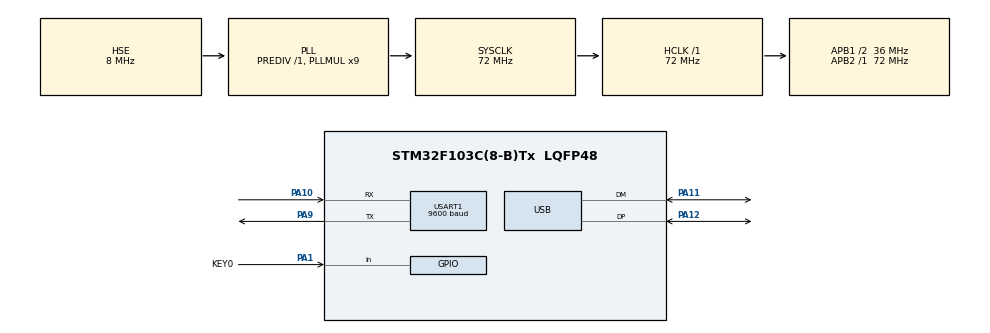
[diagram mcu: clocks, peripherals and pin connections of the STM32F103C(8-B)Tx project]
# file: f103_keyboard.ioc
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Mcu.Family=STM32F1
Mcu.Name=STM32F103C(8-B)Tx
Mcu.Package=LQFP48
NVIC.PriorityGroup=NVIC_PRIORITYGROUP_4
NVIC.TIM2_IRQn=true\:0\:0\:false\:false\:true\:true\:true\:true
NVIC.USART1_IRQn=true\:0\:0\:false\:false\:true\:true\:true\:true
NVIC.USB_LP_CAN1_RX0_IRQn=true\:0\:0\:false\:false\:true\:false\:true\:true
PA1.GPIO_Label=KEY0
PA1.Signal=GPIO_Input
PA10.Mode=Asynchronous
PA10.Signal=USART1_RX
PA11.Mode=Device
PA11.Signal=USB_DM
PA12.Mode=Device
PA12.Signal=USB_DP
PA13.Mode=Serial_Wire
PA13.Signal=SYS_JTMS-SWDIO
PA14.Mode=Serial_Wire
PA14.Signal=SYS_JTCK-SWCLK
PA9.Mode=Asynchronous
PA9.Signal=USART1_TX
PD0-OSC_IN.Mode=HSE-External-Oscillator
PD0-OSC_IN.Signal=RCC_OSC_IN
PD1-OSC_OUT.Mode=HSE-External-Oscillator
PD1-OSC_OUT.Signal=RCC_OSC_OUT
ProjectManager.HeapSize=0x200
ProjectManager.StackSize=0x400
ProjectManager.TargetToolchain=STM32CubeIDE
RCC.AHBFreq_Value=72000000
RCC.APB1CLKDivider=RCC_HCLK_DIV2
RCC.APB1Freq_Value=36000000
RCC.APB1TimFreq_Value=72000000
RCC.APB2Freq_Value=72000000
RCC.APB2TimFreq_Value=72000000
RCC.HCLKFreq_Value=72000000
RCC.PLLMUL=RCC_PLL_MUL9
RCC.SYSCLKFreq_VALUE=72000000
RCC.SYSCLKSource=RCC_SYSCLKSOURCE_PLLCLK
RCC.USBFreq_Value=48000000
RCC.USBPrescaler=RCC_USBCLKSOURCE_PLL_DIV1_5
TIM2.Period=999
TIM2.Prescaler=71
USART1.BaudRate=9600
USART1.VirtualMode=VM_ASYNC
USB_DEVICE.CLASS_NAME_FS=HID
USB_DEVICE.CONFIGURATION_STRING_HID_FS=HID Config811
USB_DEVICE.PID_HID_FS=20315
USB_DEVICE.VID=1055
USB_DEVICE.VirtualMode=Hid
USB_DEVICE.VirtualModeFS=Hid_FS
VP_TIM2_VS_ClockSourceINT.Mode=Internal
VP_USB_DEVICE_VS_USB_DEVICE_HID_FS.Mode=HID_FS
board=custom

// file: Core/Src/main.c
/* USER CODE BEGIN Header */
/**
  ******************************************************************************
  * @file           : main.c
  * @brief          : Main program body
  ******************************************************************************
  * @attention
  *
  * Copyright (c) 2025 STMicroelectronics.
  * All rights reserved.
  *
  * This software is licensed under terms that can be found in the LICENSE file
  * in the root directory of this software component.
  * If no LICENSE file comes with this software, it is provided AS-IS.
  *
  ******************************************************************************
  */
/* USER CODE END Header */
#include "main.h"
#include "usb_device.h"

TIM_HandleTypeDef htim2;

UART_HandleTypeDef huart1;

/* USER CODE BEGIN PV */
extern USBD_HandleTypeDef hUsbDeviceFS;
#define CURSOR_STEP 7
uint8_t HID_Buffer[8];

/* USER CODE END PV */

void SystemClock_Config(void);
static void MX_GPIO_Init(void);
static void MX_USART1_UART_Init(void);
static void MX_TIM2_Init(void);

/* USER CODE BEGIN 0 */
/* 获取键位 */
static void GetPointerData(uint8_t *pbuf)
{
  // 清空报告缓冲区（8字节全0）
  memset(pbuf, 0, 8);

  if(HAL_GPIO_ReadPin(KEY0_GPIO_Port, KEY0_Pin) == 1) {
    // pbuf[0] = 0x01;   // 左Ctrl修饰键
    pbuf[2] = 0x52;   // V键
    led_flash();
  }
  if(HAL_GPIO_ReadPin(GPIOA, GPIO_PIN_3) == 1) {
    // pbuf[0] = 0x01;   // 左Ctrl修饰键
    pbuf[2] = 0x51;   // C键
    led_flash();
  }
}

/* USER CODE END 0 */

int main(void)
{

  /* MCU Configuration--------------------------------------------------------*/

  /* Reset of all peripherals, Initializes the Flash interface and the Systick. */
  HAL_Init();

  /* Configure the system clock */
  SystemClock_Config();

  /* Initialize all configured peripherals */
  MX_GPIO_Init();
  MX_USART1_UART_Init();
  MX_USB_DEVICE_Init();
  MX_TIM2_Init();
  /* USER CODE BEGIN 2 */
  /* 主函数 */
  HAL_TIM_Base_Start_IT(&htim2);

  /* USER CODE END 2 */

  /* Infinite loop */
  while (1)
  {

  }
}

void SystemClock_Config(void)
{
  RCC_OscInitTypeDef RCC_OscInitStruct = {0};
  RCC_ClkInitTypeDef RCC_ClkInitStruct = {0};
  RCC_PeriphCLKInitTypeDef PeriphClkInit = {0};

  /** Initializes the RCC Oscillators according to the specified parameters
  * in the RCC_OscInitTypeDef structure.
  */
  RCC_OscInitStruct.OscillatorType = RCC_OSCILLATORTYPE_HSE;
  RCC_OscInitStruct.HSEState = RCC_HSE_ON;
  RCC_OscInitStruct.HSEPredivValue = RCC_HSE_PREDIV_DIV1;
  RCC_OscInitStruct.HSIState = RCC_HSI_ON;
  RCC_OscInitStruct.PLL.PLLState = RCC_PLL_ON;
  RCC_OscInitStruct.PLL.PLLSource = RCC_PLLSOURCE_HSE;
  RCC_OscInitStruct.PLL.PLLMUL = RCC_PLL_MUL9;
  if (HAL_RCC_OscConfig(&RCC_OscInitStruct) != HAL_OK)
  {
    Error_Handler();
  }

  /** Initializes the CPU, AHB and APB buses clocks
  */
  RCC_ClkInitStruct.ClockType = RCC_CLOCKTYPE_HCLK|RCC_CLOCKTYPE_SYSCLK
                              |RCC_CLOCKTYPE_PCLK1|RCC_CLOCKTYPE_PCLK2;
  RCC_ClkInitStruct.SYSCLKSource = RCC_SYSCLKSOURCE_PLLCLK;
  RCC_ClkInitStruct.AHBCLKDivider = RCC_SYSCLK_DIV1;
  RCC_ClkInitStruct.APB1CLKDivider = RCC_HCLK_DIV2;
  RCC_ClkInitStruct.APB2CLKDivider = RCC_HCLK_DIV1;

  if (HAL_RCC_ClockConfig(&RCC_ClkInitStruct, FLASH_LATENCY_2) != HAL_OK)
  {
    Error_Handler();
  }
  PeriphClkInit.PeriphClockSelection = RCC_PERIPHCLK_USB;
  PeriphClkInit.UsbClockSelection = RCC_USBCLKSOURCE_PLL_DIV1_5;
  if (HAL_RCCEx_PeriphCLKConfig(&PeriphClkInit) != HAL_OK)
  {
    Error_Handler();
  }
}

static void MX_TIM2_Init(void)
{

  TIM_ClockConfigTypeDef sClockSourceConfig = {0};
  TIM_MasterConfigTypeDef sMasterConfig = {0};

  htim2.Instance = TIM2;
  htim2.Init.Prescaler = 71;
  htim2.Init.CounterMode = TIM_COUNTERMODE_UP;
  htim2.Init.Period = 999;
  htim2.Init.ClockDivision = TIM_CLOCKDIVISION_DIV1;
  htim2.Init.AutoReloadPreload = TIM_AUTORELOAD_PRELOAD_DISABLE;
  if (HAL_TIM_Base_Init(&htim2) != HAL_OK)
  {
    Error_Handler();
  }
  sClockSourceConfig.ClockSource = TIM_CLOCKSOURCE_INTERNAL;
  if (HAL_TIM_ConfigClockSource(&htim2, &sClockSourceConfig) != HAL_OK)
  {
    Error_Handler();
  }
  sMasterConfig.MasterOutputTrigger = TIM_TRGO_RESET;
  sMasterConfig.MasterSlaveMode = TIM_MASTERSLAVEMODE_DISABLE;
  if (HAL_TIMEx_MasterConfigSynchronization(&htim2, &sMasterConfig) != HAL_OK)
  {
    Error_Handler();
  }

}

static void MX_USART1_UART_Init(void)
{

  huart1.Instance = USART1;
  huart1.Init.BaudRate = 9600;
  huart1.Init.WordLength = UART_WORDLENGTH_8B;
  huart1.Init.StopBits = UART_STOPBITS_1;
  huart1.Init.Parity = UART_PARITY_NONE;
  huart1.Init.Mode = UART_MODE_TX_RX;
  huart1.Init.HwFlowCtl = UART_HWCONTROL_NONE;
  huart1.Init.OverSampling = UART_OVERSAMPLING_16;
  if (HAL_UART_Init(&huart1) != HAL_OK)
  {
    Error_Handler();
  }

}

static void MX_GPIO_Init(void)
{
  GPIO_InitTypeDef GPIO_InitStruct = {0};

  /* GPIO Ports Clock Enable */
  __HAL_RCC_GPIOD_CLK_ENABLE();
  __HAL_RCC_GPIOA_CLK_ENABLE();
  __HAL_RCC_GPIOC_CLK_ENABLE();

  /*Configure GPIO pin : KEY0_Pin */
  GPIO_InitStruct.Pin = KEY0_Pin;
  GPIO_InitStruct.Mode = GPIO_MODE_INPUT;
  GPIO_InitStruct.Pull = GPIO_PULLDOWN;
  HAL_GPIO_Init(KEY0_GPIO_Port, &GPIO_InitStruct);

/* USER CODE BEGIN MX_GPIO_Init_2 */
  /* GPIO配置 */
  GPIO_InitStruct.Pin = GPIO_PIN_3;
  GPIO_InitStruct.Mode = GPIO_MODE_INPUT;
  GPIO_InitStruct.Pull = GPIO_PULLDOWN;
  HAL_GPIO_Init(GPIOA, &GPIO_InitStruct);

  GPIO_InitStruct.Pin = GPIO_PIN_13;
  GPIO_InitStruct.Mode = GPIO_MODE_OUTPUT_PP;
  GPIO_InitStruct.Speed = GPIO_SPEED_FREQ_LOW;
  GPIO_InitStruct.Pull = GPIO_NOPULL;
  HAL_GPIO_Init(GPIOC, &GPIO_InitStruct);
  HAL_GPIO_WritePin(GPIOC, GPIO_PIN_13, 1);

/* USER CODE END MX_GPIO_Init_2 */
}

/* USER CODE BEGIN 4 */
void delay_us(uint32_t xus)
{
  SysTick->LOAD = 6 * xus;
  SysTick->VAL = 0x00;
  SysTick->CTRL = 0X00000001;
  while(!(SysTick->CTRL & 0X00010000))
  {
    if((SysTick->CTRL &= 0X00000001)==0)
      SysTick->CTRL |= 0X00000001;
  }
  SysTick->CTRL = 0X00000000;
}

void delay_ms(uint32_t xms){
  delay_us(1000 * xms);
}

void led_flash(void){
  HAL_GPIO_WritePin(GPIOC, GPIO_PIN_13, 0);
  delay_ms(50);
  HAL_GPIO_WritePin(GPIOC, GPIO_PIN_13, 1);
}

void HAL_TIM_PeriodElapsedCallback(TIM_HandleTypeDef *htim)
{
  /* 定时器中断回调函数 */
  static volatile uint32_t counter = 0;
    if (htim->Instance == TIM2)
    {
      // 每10ms执行一次PC的轮询回应
      if(counter++ == USBD_HID_GetPollingInterval(&hUsbDeviceFS))
      {
        GetPointerData(HID_Buffer);
        USBD_HID_SendReport(&hUsbDeviceFS, HID_Buffer, sizeof(HID_Buffer));
        counter = 0;
      }
    }
}

/* USER CODE END 4 */

void Error_Handler(void)
{
  __disable_irq();
  while (1)
  {
  }
}
